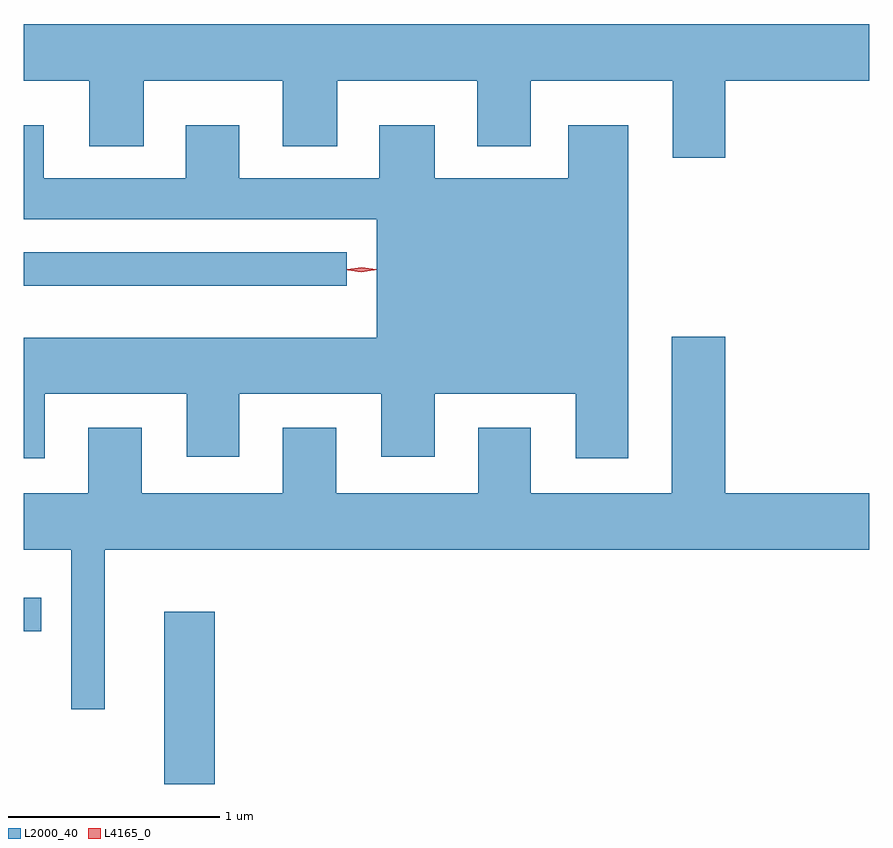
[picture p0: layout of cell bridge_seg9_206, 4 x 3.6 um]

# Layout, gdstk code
import gdstk
lib = gdstk.Library(unit=1e-6, precision=1e-09)
def R(c, l, rs):  # rectangles x0, y0, x1, y1
    for r in rs: c.add(gdstk.rectangle(r[:2], r[2:], *l))
def P(c, l, *ps):  # polygons
    for p in ps: c.add(gdstk.Polygon(p, *l))
L2000_40 = (2000, 40)
L4165_0 = (4165, 0)

bridge_seg9_206 = lib.new_cell('bridge_seg9_206')
R(bridge_seg9_206, L2000_40, [(1268.276,1966.289,1268.514,1967.104), (1267.61,1967.011,1267.693,1967.169), (1267.61,1968.646,1269.138,1968.804)])
P(bridge_seg9_206, L2000_40, [(1270.929,1969.616),(1271.61,1969.616),(1271.61,1969.884),(1267.61,1969.884),(1267.61,1969.616),(1267.921,1969.616),(1267.921,1969.306),(1268.179,1969.306),(1268.179,1969.616),(1268.836,1969.616),(1268.836,1969.306),(1269.094,1969.306),(1269.094,1969.616),(1269.756,1969.616),(1269.756,1969.306),(1270.009,1969.306),(1270.009,1969.616),(1270.681,1969.616),(1270.681,1969.251),(1270.929,1969.251)],
  [(1267.709,1968.136),(1268.381,1968.136),(1268.381,1967.836),(1268.629,1967.836),(1268.629,1968.136),(1269.301,1968.136),(1269.301,1967.836),(1269.554,1967.836),(1269.554,1968.136),(1270.221,1968.136),(1270.221,1967.831),(1270.469,1967.831),(1270.469,1969.404),(1270.186,1969.404),(1270.186,1969.154),(1269.554,1969.154),(1269.554,1969.404),(1269.291,1969.404),(1269.291,1969.154),(1268.629,1969.154),(1268.629,1969.404),(1268.376,1969.404),(1268.376,1969.154),(1267.704,1969.154),(1267.704,1969.404),(1267.61,1969.404),(1267.61,1968.961),(1269.281,1968.961),(1269.281,1968.399),(1267.61,1968.399),(1267.61,1967.831),(1267.709,1967.831)],
  [(1267.994,1967.396),(1271.61,1967.396),(1271.61,1967.664),(1270.929,1967.664),(1270.929,1968.404),(1270.676,1968.404),(1270.676,1967.664),(1270.009,1967.664),(1270.009,1967.974),(1269.761,1967.974),(1269.761,1967.664),(1269.089,1967.664),(1269.089,1967.974),(1268.836,1967.974),(1268.836,1967.664),(1268.169,1967.664),(1268.169,1967.974),(1267.916,1967.974),(1267.916,1967.664),(1267.61,1967.664),(1267.61,1967.396),(1267.836,1967.396),(1267.836,1966.643),(1267.994,1966.643)])
P(bridge_seg9_206, L4165_0, [(1269.206,1968.71),(1269.144,1968.72),(1269.143,1968.72),(1269.144,1968.721),(1269.206,1968.73),(1269.267,1968.721),(1269.268,1968.72),(1269.267,1968.72)],
  [(1269.209,1968.713),(1269.14,1968.722),(1269.139,1968.723),(1269.14,1968.723),(1269.209,1968.733),(1269.277,1968.723),(1269.278,1968.723),(1269.277,1968.722)])

lib.write_gds('bridge_seg9_206.gds')
